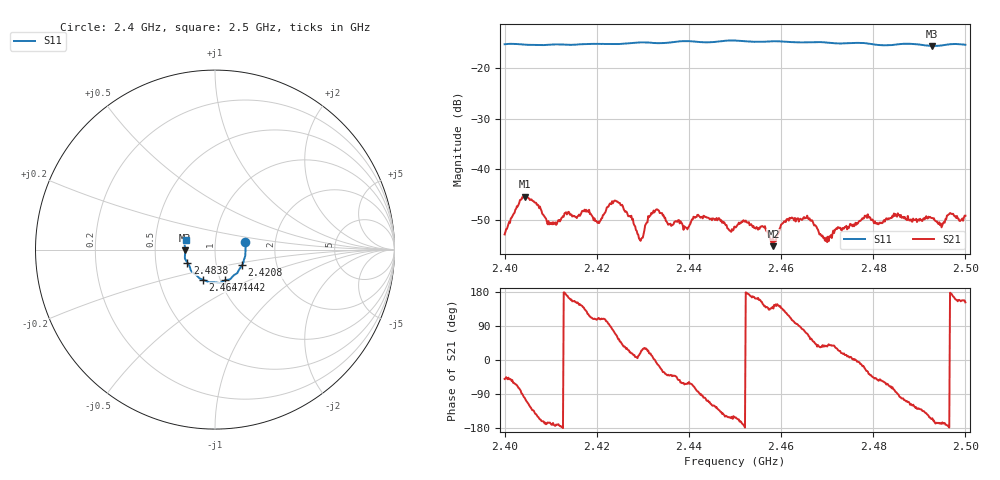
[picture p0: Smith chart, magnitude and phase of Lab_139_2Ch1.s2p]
# Hz S RI R 50
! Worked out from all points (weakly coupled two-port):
!   601 points, 2.4 GHz to 2.5 GHz, reference 50 ohm
!   highest |S21| = -45.43 dB at 2.4043 GHz (marker M1); lowest = -55.2 dB at 2.4583 GHz (marker M2)
!   lowest |S11| = -15.6 dB at 2.4928 GHz (marker M3), VSWR 1.40, Z = 35.8 - j0.366 ohm
!   |S11| at or under -10 dB: start of sweep to end of sweep
!   S12 and S22 are empty: the file has one direction only
!   S11 on the Smith chart (normalised r, x): 2.4 GHz: 1.40, +0.12; 2.4208 GHz: 1.33, -0.24; 2.4442 GHz: 1.05, -0.37; 2.4647 GHz: 0.83, -0.29; 2.4838 GHz: 0.73, -0.11; 2.5 GHz: 0.72, +0.08
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2.4e9  0.1679 0.0411  0.00146 -0.00174  0 0  0 0
2.404333e9  0.1704 0.0147  -0.000874 -0.00528  0 0  0 0
2.409833e9  0.169 -0.0271  -0.00287 -0.000757  0 0  0 0
2.416667e9  0.1589 -0.0684  -0.00301 0.00219  0 0  0 0
2.420833e9  0.1506 -0.0871  -0.000931 0.00299  0 0  0 0
2.4245e9  0.1377 -0.1053  0.00242 0.00414  0 0  0 0
2.429667e9  0.1255 -0.1292  0.00187 0.000864  0 0  0 0
2.433333e9  0.1078 -0.1403  0.00384 -0.000889  0 0  0 0
2.439333e9  0.084 -0.1653  0.00118 -0.00237  0 0  0 0
2.444167e9  0.0567 -0.1713  -0.00098 -0.00317  0 0  0 0
2.45e9  0.0245 -0.1863  -0.00239 -0.00128  0 0  0 0
2.456e9  -0.0141 -0.1819  -0.00232 0.00145  0 0  0 0
2.458333e9  -0.0274 -0.183  -0.00125 0.00121  0 0  0 0
2.460833e9  -0.0398 -0.1787  -0.00186 0.00244  0 0  0 0
2.464667e9  -0.0673 -0.167  0.000481 0.00315  0 0  0 0
2.466667e9  -0.08 -0.1627  0.00183 0.00256  0 0  0 0
2.469833e9  -0.0925 -0.1542  0.00169 0.00128  0 0  0 0
2.478333e9  -0.1354 -0.1136  0.0031 -0.00146  0 0  0 0
2.483333e9  -0.1506 -0.0762  0.00127 -0.00302  0 0  0 0
2.483833e9  -0.1533 -0.0721  0.00115 -0.00311  0 0  0 0
2.492833e9  -0.1659 -0.00498  -0.00297 -0.00145  0 0  0 0
2.5e9  -0.1625 0.0527  -0.00307 0.00163  0 0  0 0
